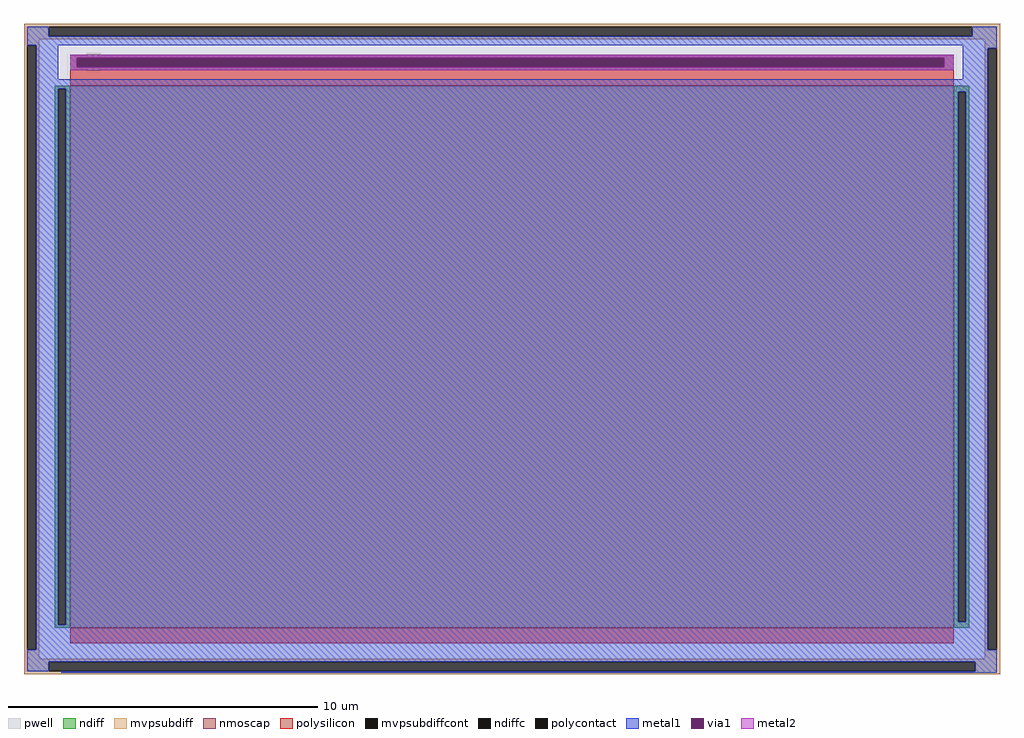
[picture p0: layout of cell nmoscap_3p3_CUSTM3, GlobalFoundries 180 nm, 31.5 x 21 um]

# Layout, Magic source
magic
tech gf180mcuD
<< pwell >>
rect -260 320 370 340
rect -260 318 -220 320
rect -210 318 370 320
rect -260 312 370 318
rect -260 310 -220 312
rect -210 310 370 312
rect -260 300 370 310
rect -260 296 342 300
rect 346 296 370 300
rect -260 -80 370 296
<< ndiff >>
rect -240 298 -230 300
rect -240 -48 -238 298
rect -233 -48 -230 298
rect -240 -50 -230 -48
rect 340 296 350 300
rect 340 -46 343 296
rect 348 -46 350 296
rect 340 -50 350 -46
<< ndiffc >>
rect -238 -48 -233 298
rect 343 -46 348 296
<< mvpsubdiff >>
rect -260 338 370 340
rect -260 332 -244 338
rect 352 332 370 338
rect -260 330 370 332
rect -260 326 -250 330
rect -260 -64 -258 326
rect -252 -64 -250 326
rect 360 324 370 330
rect -260 -70 -250 -64
rect 360 -64 362 324
rect 368 -64 370 324
rect 360 -70 370 -64
rect -260 -72 370 -70
rect -260 -78 -244 -72
rect 354 -78 370 -72
rect -260 -80 370 -78
<< mvpsubdiffcont >>
rect -244 332 352 338
rect -258 -64 -252 326
rect 362 -64 368 324
rect -244 -78 354 -72
<< nmoscap >>
rect -230 -50 340 300
<< polysilicon >>
rect -230 318 340 320
rect -230 312 -226 318
rect 334 312 340 318
rect -230 300 340 312
rect -230 -60 340 -50
<< polycontact >>
rect -226 312 334 318
<< metal1 >>
rect -258 332 -244 338
rect 352 332 368 338
rect -258 326 368 332
rect -252 304 -238 326
rect 346 324 368 326
rect -230 318 340 320
rect -230 312 -226 318
rect 334 312 340 318
rect -230 310 340 312
rect 346 304 362 324
rect -252 298 362 304
rect -252 -48 -238 298
rect -233 296 362 298
rect -233 -46 343 296
rect 348 -46 362 296
rect -233 -48 362 -46
rect -252 -64 362 -48
rect -258 -72 368 -64
rect -258 -78 -244 -72
rect 354 -78 368 -72
rect -236 -79 368 -78
<< via1 >>
rect -226 312 334 318
<< metal2 >>
rect -230 318 340 320
rect -230 312 -226 318
rect 334 312 340 318
rect -230 310 340 312
<< properties >>
string gencell nmoscap_3p3
string library gf180mcu
string parameters w 29 l 17.5 m 1 nf 1 diffcov 100 polycov 100 guard 0 glc 0 grc 0 gtc 0 gbc 0 tbcov 100 rlcov 100 topc 1 botc 0 poverlap 0 doverlap 1 lmin 0.28 wmin 0.22 class mosfet full_metal 0 compatible {nmoscap_3p3 nmoscap_6p0}
<< end >>
